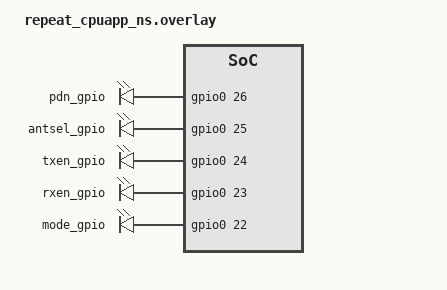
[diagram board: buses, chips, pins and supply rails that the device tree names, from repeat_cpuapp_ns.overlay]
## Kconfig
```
# Config options for mqtt_publisher sample application

# Copyright (c) 2020 Intel Corporation
# SPDX-License-Identifier: Apache-2.0

mainmenu "Networking mqtt_publisher sample application"

config NET_SAMPLE_APP_MAX_ITERATIONS
	int "Number of times to Publish sample MQTT messages"
	default 500
	help
	  Send sample MQTT messages this many times in a MQTT connection
	  before exiting. A value of zero means that the messages are sent
	  forever.

config NET_SAMPLE_APP_MAX_CONNECTIONS
	int "Number of times to connect to the MQTT server"
	default 0
	help
	  Number of times to connect to the MQTT server. With each connection
	  send NET_SAMPLE_APP_MAX_ITERATIONS amount of MQTT sample messages.
	  A value of zero means to continue forever.

config MQTT_BROKER_PASSWORD
	string "Password for the MQTT broker"

config MQTT_BROKER_USERNAME
	string "Username for the MQTT broker"

source "Kconfig.zephyr"
```

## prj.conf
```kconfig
#Configure networking
CONFIG_NETWORKING=y
CONFIG_NET_SOCKETS=y
CONFIG_NET_TCP=y
CONFIG_NET_LOG=y
#Disable IPv6 support
CONFIG_NET_IPV6=n
#Enable IPv4 support
CONFIG_NET_IPV4=y
CONFIG_NET_CONFIG_SETTINGS=y
CONFIG_NET_DRIVERS=y
CONFIG_NET_CONFIG_NEED_IPV4=y
#Repeat board IP
CONFIG_NET_CONFIG_MY_IPV4_ADDR="192.168.10.100"
#MQTT server IP
CONFIG_NET_CONFIG_PEER_IPV4_ADDR="192.168.10.12"

#Configure W5100S
CONFIG_SPI=y
CONFIG_NET_L2_ETHERNET=y
CONFIG_ETH_DRIVER=y
CONFIG_ETH_W5100=y

#Misc config
CONFIG_MAIN_STACK_SIZE=2048
CONFIG_ENTROPY_GENERATOR=y
CONFIG_TEST_RANDOM_GENERATOR=y

#Configure MQTT
CONFIG_MQTT_LIB=y
CONFIG_MQTT_BROKER_PASSWORD="PLACE_MQTT_PSWD_HERE"
CONFIG_MQTT_BROKER_USERNAME="PLACE_MQTT_UNAME_HERE"

#Configure BLE
CONFIG_BT=y
CONFIG_BT_OBSERVER=y
CONFIG_BT_DEBUG_LOG=y
CONFIG_BT_FILTER_ACCEPT_LIST=y
CONFIG_CBPRINTF_FP_SUPPORT=y

#Configure debugging and console
CONFIG_DEBUG=y
CONFIG_DEBUG_OPTIMIZATIONS=y
CONFIG_DEBUG_THREAD_INFO=y
CONFIG_NEWLIB_LIBC=y
CONFIG_NEWLIB_LIBC_FLOAT_PRINTF=y
CONFIG_PRINTK=y
CONFIG_STDOUT_CONSOLE=y
CONFIG_NET_SHELL=y
```

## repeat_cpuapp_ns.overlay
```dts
// To get started, press Ctrl+Space to bring up the completion menu and view the available nodes.

// You can also use the buttons in the sidebar to perform actions on nodes.
// Actions currently available include:

// * Enabling / disabling the node
// * Adding the bus to a bus
// * Removing the node
// * Connecting ADC channels

// For more help, browse the DeviceTree documentation at https://docs.zephyrproject.org/latest/guides/dts/index.html
// You can also visit the nRF DeviceTree extension documentation at https://nrfconnect.github.io/vscode-nrf-connect/devicetree/nrfdevicetree.html

/{
    pins{
        compatible = "gpio-leds";
        pdn_gpio: pdn {
            gpios = <&gpio0 26 GPIO_ACTIVE_HIGH>;
        };

        antsel_gpio: antsel {
            gpios = <&gpio0 25 GPIO_ACTIVE_HIGH>;
        };

        txen_gpio: txen {
            gpios = <&gpio0 24 GPIO_ACTIVE_HIGH>;
        };
        
        rxen_gpio: rxen {
            gpios = <&gpio0 23 GPIO_ACTIVE_HIGH>;
        };
        
        mode_gpio: mode {
            gpios = <&gpio0 22 GPIO_ACTIVE_HIGH>;
        };
    };
};
```

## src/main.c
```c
#include <zephyr/logging/log.h>
LOG_MODULE_REGISTER(ble_to_mqtt, LOG_LEVEL_DBG);
#include <zephyr/kernel.h>
#include <zephyr/net/socket.h>
#include <zephyr/net/mqtt.h>
#include <zephyr/random/rand32.h>
#include <zephyr/bluetooth/bluetooth.h>
#include <zephyr/bluetooth/hci.h>
#include <zephyr/drivers/gpio.h>
#include <stdio.h>
#include <string.h>
#include <errno.h>

//Config for the example
#define ZEPHYR_ADDR				"192.168.10.100"
#define SERVER_ADDR				"192.168.10.12"
#define SERVER_PORT				1883
#define APP_CONNECT_TIMEOUT_MS	5000
#define APP_SLEEP_MSECS			500
#define APP_CONNECT_TRIES		10
#define APP_MQTT_BUFFER_SIZE	128
#define MQTT_CLIENTID			"repeat"


#define APP_BMEM
#define APP_DMEM

//Topic prefix string
const char * topic_prefix = "repeat/ble/";

//Defines for the FEM GPIO
#define PDN_NODE DT_NODELABEL(pdn_gpio)
static const struct gpio_dt_spec pdn_pin = GPIO_DT_SPEC_GET(PDN_NODE, gpios);

#define RXEN_NODE DT_NODELABEL(rxen_gpio)
static const struct gpio_dt_spec rxen_pin = GPIO_DT_SPEC_GET(RXEN_NODE, gpios);

#define TXEN_NODE DT_NODELABEL(txen_gpio)
static const struct gpio_dt_spec txen_pin = GPIO_DT_SPEC_GET(TXEN_NODE, gpios);

#define ANTSEL_NODE DT_NODELABEL(antsel_gpio)
static const struct gpio_dt_spec antsel_pin = GPIO_DT_SPEC_GET(ANTSEL_NODE, gpios);

#define MODE_NODE DT_NODELABEL(mode_gpio)
static const struct gpio_dt_spec mode_pin = GPIO_DT_SPEC_GET(MODE_NODE, gpios);

//BLE packet structure 
typedef struct {
	char mac[18];
	int8_t rssi;
	char buffer[66];
} ble_packet_t;

//Queue for BLE packets
char __aligned(1) bleq_buffer[50 * sizeof(ble_packet_t)];
struct k_msgq bleq;

//Buffers for MQTT client
static APP_BMEM uint8_t rx_buffer[APP_MQTT_BUFFER_SIZE];
static APP_BMEM uint8_t tx_buffer[APP_MQTT_BUFFER_SIZE];

//MQTT client struct 
static APP_BMEM struct mqtt_client client_ctx;

//MQTT Broker details. 
static APP_BMEM struct sockaddr_in broker;
static APP_BMEM struct zsock_pollfd fds[1];
static APP_BMEM int nfds;
static APP_BMEM bool connected;

//Basic wait function
static int wait(int timeout)
{
	int ret = 0;
	if (nfds > 0) {
		ret = zsock_poll(fds, nfds, timeout);
		if (ret < 0) {
			LOG_ERR("poll error: %d", errno);
		}
	}

	return ret;
}

//Event handler for MQTT events
void mqtt_evt_handler(struct mqtt_client *const client,
		      const struct mqtt_evt *evt)
{
	int err;

	switch (evt->type) {
	case MQTT_EVT_CONNACK:
		if (evt->result != 0) {
			LOG_ERR("MQTT connect failed %d", evt->result);
			break;
		}

		connected = true;
		LOG_INF("MQTT client connected!");

		break;

	case MQTT_EVT_DISCONNECT:
		LOG_INF("MQTT client disconnected %d", evt->result);

		connected = false;
		nfds = 0;

		break;

	case MQTT_EVT_PUBACK:
		if (evt->result != 0) {
			LOG_ERR("MQTT PUBACK error %d", evt->result);
			break;
		}

		LOG_INF("PUBACK packet id: %u", evt->param.puback.message_id);

		break;

	case MQTT_EVT_PUBREC:
		if (evt->result != 0) {
			LOG_ERR("MQTT PUBREC error %d", evt->result);
			break;
		}

		LOG_INF("PUBREC packet id: %u", evt->param.pubrec.message_id);

		const struct mqtt_pubrel_param rel_param = {
			.message_id = evt->param.pubrec.message_id
		};

		err = mqtt_publish_qos2_release(client, &rel_param);
		if (err != 0) {
			LOG_ERR("Failed to send MQTT PUBREL: %d", err);
		}

		break;

	case MQTT_EVT_PUBCOMP:
		if (evt->result != 0) {
			LOG_ERR("MQTT PUBCOMP error %d", evt->result);
			break;
		}

		LOG_INF("PUBCOMP packet id: %u",
			evt->param.pubcomp.message_id);

		break;

	case MQTT_EVT_PINGRESP:
		LOG_INF("PINGRESP packet");
		break;

	default:
		break;
	}
}


static int publish(struct mqtt_client *client, enum mqtt_qos qos, char * top, char * payl)
{
	struct mqtt_publish_param param;
	//Assemble the MQTT message from provided parameters
	param.message.topic.qos = qos;
	param.message.topic.topic.utf8 = (uint8_t *)top;
	param.message.topic.topic.size =
			strlen(param.message.topic.topic.utf8);
	param.message.payload.data = payl;
	param.message.payload.len =
			strlen(param.message.payload.data);
	param.message_id = sys_rand32_get();
	param.dup_flag = 0U;
	param.retain_flag = 0U;

	//Publish it
	return mqtt_publish(client, &param);
}

#define RC_STR(ret) ((ret) == 0 ? "OK" : "ERROR")

#define PRINT_RESULT(func, ret) \
	LOG_INF("%s: %d <%s>", (func), ret, RC_STR(ret))

/* In this routine we block until the connected variable is 1 */
static int mqtt_try_to_connect(struct mqtt_client *client)
{
	int ret, i = 0;

	while (i++ < APP_CONNECT_TRIES && !connected) {
		//Initialize client
		mqtt_client_init(client);

		//Set up the broker IP and port
		broker.sin_family = AF_INET;
		broker.sin_port = htons(SERVER_PORT);
		zsock_inet_pton(AF_INET, SERVER_ADDR, &broker.sin_addr);

		//MQTT client configuration
		client->broker = &broker;
		client->evt_cb = mqtt_evt_handler;
		client->client_id.utf8 = (uint8_t *)MQTT_CLIENTID;
		client->client_id.size = strlen(MQTT_CLIENTID);

		//Setup password and username credentials needed to connect to the broker
		static struct mqtt_utf8 password;
		static struct mqtt_utf8 user_name;
		password.utf8 = (uint8_t*)CONFIG_MQTT_BROKER_PASSWORD;
		password.size = strlen(CONFIG_MQTT_BROKER_PASSWORD);
		user_name.utf8 = (uint8_t*)CONFIG_MQTT_BROKER_USERNAME;
		user_name.size = strlen(CONFIG_MQTT_BROKER_USERNAME);

		//Assign the credentials to the client
		client->password = &password;
		client->user_name = &user_name;
		//Setup MQTT version
		client->protocol_version = MQTT_VERSION_3_1_1;

		//Configure buffers
		client->rx_buf = rx_buffer;
		client->rx_buf_size = sizeof(rx_buffer);
		client->tx_buf = tx_buffer;
		client->tx_buf_size = sizeof(tx_buffer);

		//Configure transport type
		client->transport.type = MQTT_TRANSPORT_NON_SECURE;


		//Try to connect to the broker
		ret = mqtt_connect(client);
		if (ret != 0) {
			PRINT_RESULT("mqtt_connect", ret);
			k_sleep(K_MSEC(APP_SLEEP_MSECS));
			continue;
		}

		//Set the transport type for the client
		if (client->transport.type == MQTT_TRANSPORT_NON_SECURE) {
			fds[0].fd = client->transport.tcp.sock;
		}
		fds[0].events = ZSOCK_POLLIN;
		nfds = 1;

		//Wait for the feedback from the broker
		if (wait(APP_CONNECT_TIMEOUT_MS)) {
			mqtt_input(client);
		}

		//If the connection was unsuccesful, abort
		if (!connected) {
			mqtt_abort(client);
		}
	}

	//If the connection was succesful, return 0
	if (connected) {
		return 0;
	}

	return -EINVAL;
}


static int fem_init(bool rx, bool tx, bool powerdown, bool antenna, bool mode)
{
	//Setup all the GPIO needed to control the radio FEM onboard and set it
	int ret = -1;

	if (!device_is_ready(pdn_pin.port)) {
		return ret;
	}

	ret = gpio_pin_configure_dt(&pdn_pin, GPIO_OUTPUT_ACTIVE);
	if (ret < 0) {
		return ret;
	}

	ret = gpio_pin_set_dt(&pdn_pin, !powerdown);

	if (!device_is_ready(antsel_pin.port)) {
		return ret;
	}

	ret = gpio_pin_configure_dt(&antsel_pin, GPIO_OUTPUT_ACTIVE);
	if (ret < 0) {
		return ret;
	}

	ret = gpio_pin_set_dt(&antsel_pin, antenna);

	if (!device_is_ready(rxen_pin.port)) {
		return ret;
	}

	ret = gpio_pin_configure_dt(&rxen_pin, GPIO_OUTPUT_ACTIVE);
	if (ret < 0) {
		return ret;
	}

	ret = gpio_pin_set_dt(&rxen_pin, tx);

	if (!device_is_ready(txen_pin.port)) {
		return ret;
	}

	ret = gpio_pin_configure_dt(&txen_pin, GPIO_OUTPUT_ACTIVE);
	if (ret < 0) {
		return ret;
	}

	ret = gpio_pin_set_dt(&txen_pin, tx);

	if (!device_is_ready(mode_pin.port)) {
		return ret;
	}

	ret = gpio_pin_configure_dt(&mode_pin, GPIO_OUTPUT_ACTIVE);
	if (ret < 0) {
		return ret;
	}

	ret = gpio_pin_set_dt(&mode_pin, rx);

	return ret;

}


static void ble_scan_cb(const bt_addr_le_t *addr, int8_t rssi, uint8_t adv_type, struct net_buf_simple *buf)
{

	//Assemble the packet object from the incomming data
	ble_packet_t received;
	//Create stringified MAC
	sprintf(received.mac, "%02X:%02X:%02X:%02X:%02X:%02X", addr->a.val[5], addr->a.val[4], addr->a.val[3], addr->a.val[2], addr->a.val[1], addr->a.val[0]);
	//Get RSSI of the incoming packet
	received.rssi = rssi;

	char byteBuff[3];

	//Fill the data buffer in human readable format
	uint8_t i;
	for(i = 0; i < buf->len; i++){
		if(i == 32) break;
		sprintf(byteBuff, "%02X", buf->data[i]);
		received.buffer[2*i] = byteBuff[0];
		received.buffer[2*i+1] = byteBuff[1];
	}

	//Terminate with null
	received.buffer[2*i] = 0;

	
	
	//Push the object into queue
	while (k_msgq_put(&bleq, &received, K_NO_WAIT) != 0) {
        //Message queue is full: purge old data & try again
        k_msgq_purge(&bleq);
    }
}



static int ble_init(){
	//Define scan parameters
	struct bt_le_scan_param scan_param = {
		.type       = BT_HCI_LE_SCAN_PASSIVE,
		.options    = BT_LE_SCAN_OPT_NONE,
		.interval   = 0x00A0,
		.window     = 0x00A0,
	};

	int err;

	//Enable bluetooth
	err = bt_enable(NULL);
	if (err) {
		printk("Bluetooth init failed (err %d)\n", err);
		return -1;
	}

	printk("Bluetooth initialized\n");

	//Start the scan with predefined parameters
	err = bt_le_scan_start(&scan_param, ble_scan_cb);
	if (err) {
		printk("Starting scanning failed (err %d)\n", err);
		return -1;
	}

	return err;
}


void main(void)
{
	int ret;

	//Init the message queue between ble scan thread and mqtt publish thread
	k_msgq_init(&bleq, bleq_buffer, sizeof(ble_packet_t), 50);

	//Init FEM for RX mode
	ret = fem_init(1,0,0,1,0);
	if(ret < 0){
		printk("Unable to setup FEM (err %d)\n", ret);
		exit(-1);
	}


	//Connect to the broker
	ret = mqtt_try_to_connect(&client_ctx);
	if(ret < 0){
		printk("Unable to connect to the broker (err %d)\n", ret);
		exit(-1);
	}

	//Init BLE
	ret = ble_init();
	if(ret < 0){
		printk("Failed to initialize BLE (err %d)\n", ret);
		exit(-1);
	}

	//Create topic and payload buffers
	static APP_BMEM char topic[100];
	static APP_BMEM char payload[160];

	//Create data object to which will the data from the queue be retreived
	ble_packet_t data;

	//Check for new data in the queue and if available, send them to the broker
	while (1) {
		//Get new data from the queue if available, if not, wait for them
		k_msgq_get(&bleq, &data, K_FOREVER);

		//Create a JSON payload
		sprintf(payload, "{ \"mac\": \"%s\", \"rssi\": \"%2d\", \"raw\": \"%s\"}", data.mac, data.rssi, data.buffer);
		//Create the topic from device mac adress and prefix
		sprintf(topic, "%s%s", topic_prefix, data.mac);

		int rc;
		//Try to publish to the broker
		rc = publish(&client_ctx, MQTT_QOS_0_AT_MOST_ONCE, topic, payload);
		//Log what you published and the error code
		printk("Publish message %s to topic %s finished with code %d\n", payload, topic, rc);

		//Sleep a little
		k_sleep(K_MSEC(100));
	}

}
```
